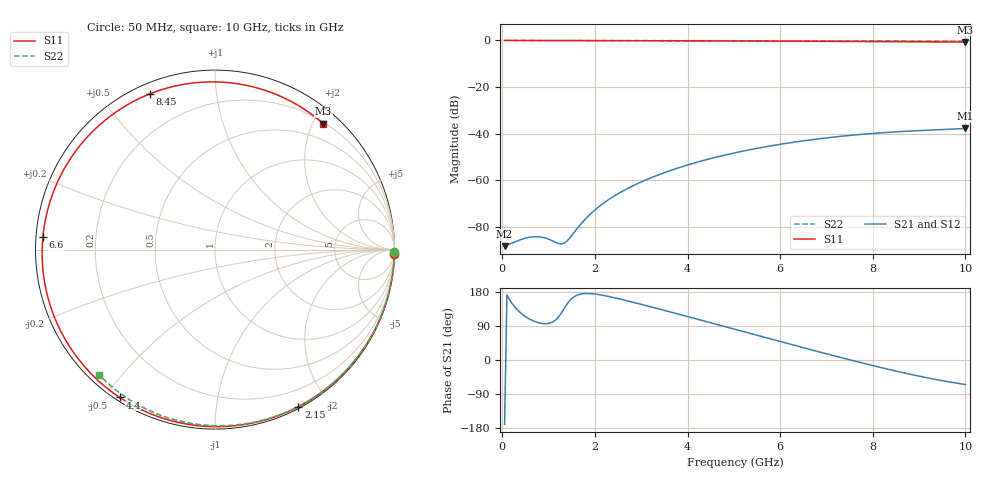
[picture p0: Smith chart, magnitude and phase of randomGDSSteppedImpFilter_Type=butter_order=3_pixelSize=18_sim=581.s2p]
! freq	dB(S11)	phase(S11)	dB(S12)	phase(S12)
!  dB(S21)	phase(S21)	dB(S22)	phase(S22)
!S-par simulation data
#  GHz  S  DB  R 50
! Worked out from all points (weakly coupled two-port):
!   200 points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, 50 MHz to 10 GHz, reference 50 ohm
!   highest |S21| = -37.74 dB at 10 GHz (marker M1); lowest = -88.2 dB at 50 MHz (marker M2)
!   lowest |S11| = -0.7 dB at 10 GHz (marker M3), VSWR 25.63, Z = 11.2 + j108 ohm
!   |S11| at or under -10 dB: nowhere
!   |S22| runs from -0.4 to 0.0 dB; largest |S21 - S12| = 0
!   S11 on the Smith chart (normalised r, x): 50 MHz: 0, -77; 2.15 GHz: 0.02, -1.66; 4.4 GHz: 0.01, -0.55; 6.6 GHz: 0.02, +0.04; 8.45 GHz: 0.04, +0.67; 10 GHz: 0.22, +2.16
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0.05  -0.00 -1.5  -88.20 -169.5  -88.20 -169.5  -0.00 -0.8
0.8  -0.03 -23.6  -84.22 97.8  -84.22 97.8  -0.01 -12.2
1.6  -0.06 -46.6  -81.06 170.3  -81.06 170.3  -0.03 -24.3
1.65  -0.06 -48.0  -79.81 172.6  -79.81 172.6  -0.03 -25.0
1.75  -0.06 -50.8  -77.49 175.0  -77.49 175.0  -0.03 -26.5
2.15  -0.08 -62.0  -70.28 171.2  -70.28 171.2  -0.04 -32.4
2.7  -0.10 -77.2  -63.52 156.2  -63.52 156.2  -0.05 -40.4
3.4  -0.13 -96.1  -57.41 134.2  -57.41 134.2  -0.07 -50.4
3.9  -0.15 -109.5  -54.01 117.9  -54.01 117.9  -0.08 -57.4
4.4  -0.17 -122.8  -51.15 101.4  -51.15 101.4  -0.09 -64.2
5.05  -0.21 -140.2  -48.06 79.8  -48.06 79.8  -0.11 -72.9
5.85  -0.27 -162.3  -45.02 53.5  -45.02 53.5  -0.14 -83.3
6.6  -0.34 175.7  -42.77 29.1  -42.77 29.1  -0.18 -92.7
6.7  -0.35 172.7  -42.51 25.9  -42.51 25.9  -0.18 -93.9
7.5  -0.43 146.9  -40.72 0.6  -40.72 0.6  -0.23 -103.6
7.9  -0.48 133.0  -40.02 -11.7  -40.02 -11.7  -0.25 -108.4
8.35  -0.52 116.4  -39.37 -25.0  -39.37 -25.0  -0.29 -113.7
8.45  -0.53 112.6  -39.25 -27.8  -39.25 -27.8  -0.30 -114.9
8.85  -0.57 96.9  -38.81 -38.8  -38.81 -38.8  -0.33 -119.5
9.25  -0.61 80.6  -38.44 -48.9  -38.44 -48.9  -0.37 -124.1
9.6  -0.64 66.0  -38.13 -56.8  -38.13 -56.8  -0.40 -128.1
10  -0.68 49.3  -37.74 -64.7  -37.74 -64.7  -0.45 -132.7
